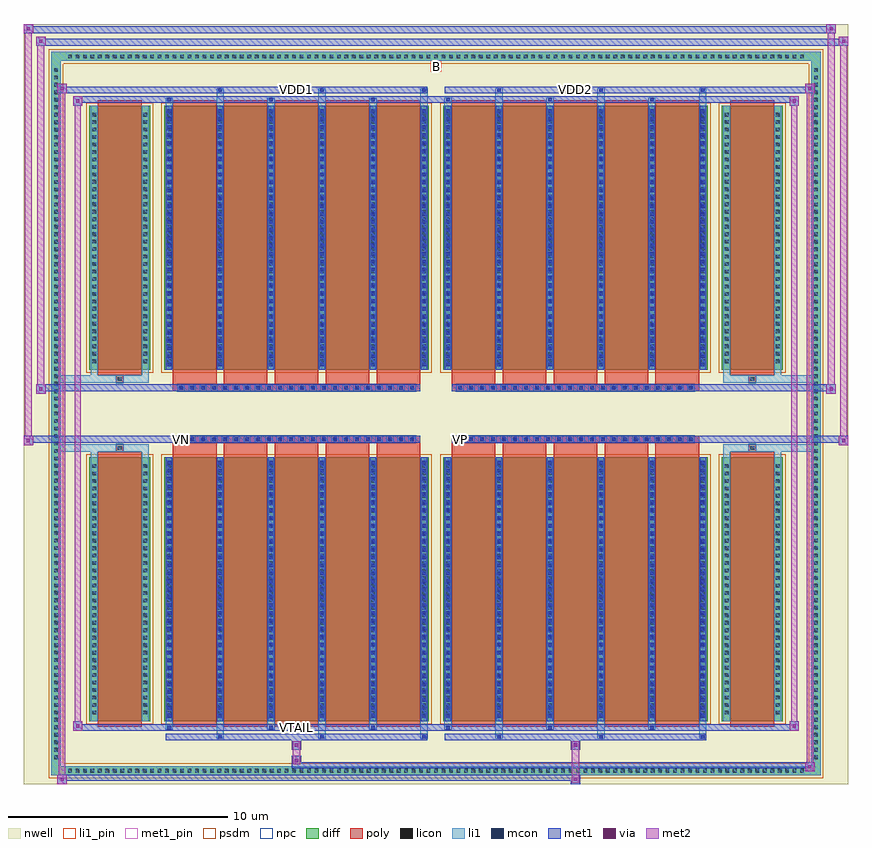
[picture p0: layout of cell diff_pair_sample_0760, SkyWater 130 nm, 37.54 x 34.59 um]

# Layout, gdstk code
import gdstk
lib = gdstk.Library(unit=1e-6, precision=5e-09)
def R(c, l, rs):  # rectangles x0, y0, x1, y1
    for r in rs: c.add(gdstk.rectangle(r[:2], r[2:], *l))
def A(c, l, x, y, w, h, nx, ny, dx, dy):  # array of equal rectangles
    R(c, l, [(x+i*dx, y+j*dy, x+i*dx+w, y+j*dy+h) for i in range(nx) for j in range(ny)])
def P(c, l, *ps):  # polygons
    for p in ps: c.add(gdstk.Polygon(p, *l))
nwell = (64, 20)
diff = (65, 20)
poly = (66, 20)
licon = (66, 44)
li1_pin = (67, 16)
li1 = (67, 20)
mcon = (67, 44)
met1_pin = (68, 16)
met1 = (68, 20)
via = (68, 44)
met2 = (69, 20)
psdm = (94, 20)
npc = (95, 20)

diff_pair_sample_0760 = lib.new_cell('diff_pair_sample_0760')
R(diff_pair_sample_0760, nwell, [(-18.77,-16.86,18.77,17.73), (-16.09,-15.05,-0.01,-0.805), (0.01,-15.05,16.09,-0.805), (-16.09,0.805,-0.01,15.05), (0.01,0.805,16.09,15.05)])
A(diff_pair_sample_0760, diff, -16.865, -16.46, 0.41, 0.41, 99, 2, 0.34, 32.51)
A(diff_pair_sample_0760, diff, -17.5, -15.845, 0.41, 0.41, 1, 93, 0, 0.34)
A(diff_pair_sample_0760, diff, 17.09, -15.845, 0.41, 0.41, 1, 93, 0, 0.34)
R(diff_pair_sample_0760, diff, [(-16.865,-16.46,16.865,-16.05), (-17.5,-15.845,-17.09,15.845), (17.09,-15.845,17.5,15.845), (-15.78,-14.005,-13.01,-1.985), (-12.37,-14.005,-0.32,-1.985), (0.32,-14.005,12.37,-1.985), (13.01,-14.005,15.78,-1.985), (-15.78,1.985,-13.01,14.005), (-12.37,1.985,-0.32,14.005), (0.32,1.985,12.37,14.005), (13.01,1.985,15.78,14.005), (-16.865,16.05,16.865,16.46)])
P(diff_pair_sample_0760, diff, [(17.5,16.46),(-17.5,16.46),(-17.5,-16.05),(-17.09,-16.05),(-17.09,16.05),(17.09,16.05),(17.09,-16.05),(-17.09,-16.05),(-17.5,-16.05),(-17.5,-16.46),(17.5,-16.46)])
A(diff_pair_sample_0760, poly, -11.98, -14.255, 1.99, 12.52, 5, 2, 2.32, 15.99)
A(diff_pair_sample_0760, poly, 0.71, -14.255, 1.99, 12.52, 5, 2, 2.32, 15.99)
A(diff_pair_sample_0760, poly, -11.98, -1.735, 1.99, 0.4, 5, 2, 2.32, 3.07)
A(diff_pair_sample_0760, poly, 0.71, -1.735, 1.99, 0.4, 5, 2, 2.32, 3.07)
A(diff_pair_sample_0760, poly, -11.76, -1.335, 0.33, 0.33, 22, 2, 0.5, 2.34)
A(diff_pair_sample_0760, poly, 0.93, -1.335, 0.33, 0.33, 22, 2, 0.5, 2.34)
R(diff_pair_sample_0760, poly, [(-15.39,-14.255,-13.4,-1.735), (13.4,-14.255,15.39,-1.735), (-14.56,-1.735,-14.23,-1.405), (-14.56,-1.735,-14.23,-1.405), (14.23,-1.735,14.56,-1.405), (14.23,-1.735,14.56,-1.405), (-11.98,-1.335,-0.71,-1.005), (0.71,-1.335,11.98,-1.005), (-11.98,1.005,-0.71,1.335), (0.71,1.005,11.98,1.335), (-14.56,1.405,-14.23,1.735), (-14.56,1.405,-14.23,1.735), (14.23,1.405,14.56,1.735), (14.23,1.405,14.56,1.735), (-15.39,1.735,-13.4,14.255), (13.4,1.735,15.39,14.255)])
A(diff_pair_sample_0760, licon, -16.745, -16.34, 0.17, 0.17, 99, 2, 0.34, 32.51)
A(diff_pair_sample_0760, licon, -17.38, -15.725, 0.17, 0.17, 1, 93, 0, 0.34)
A(diff_pair_sample_0760, licon, 17.21, -15.725, 0.17, 0.17, 1, 93, 0, 0.34)
A(diff_pair_sample_0760, licon, -15.64, -13.69, 0.17, 0.17, 1, 34, 0, 0.34)
A(diff_pair_sample_0760, licon, -13.32, -13.69, 0.17, 0.17, 1, 34, 0, 0.34)
A(diff_pair_sample_0760, licon, -12.23, -13.69, 0.17, 0.17, 6, 34, 2.32, 0.34)
A(diff_pair_sample_0760, licon, 0.46, -13.69, 0.17, 0.17, 6, 34, 2.32, 0.34)
A(diff_pair_sample_0760, licon, 13.15, -13.69, 0.17, 0.17, 1, 34, 0, 0.34)
A(diff_pair_sample_0760, licon, 15.47, -13.69, 0.17, 0.17, 1, 34, 0, 0.34)
A(diff_pair_sample_0760, licon, -11.68, -1.255, 0.17, 0.17, 22, 2, 0.5, 2.34)
A(diff_pair_sample_0760, licon, 1.01, -1.255, 0.17, 0.17, 22, 2, 0.5, 2.34)
A(diff_pair_sample_0760, licon, -15.64, 2.3, 0.17, 0.17, 1, 34, 0, 0.34)
A(diff_pair_sample_0760, licon, -13.32, 2.3, 0.17, 0.17, 1, 34, 0, 0.34)
A(diff_pair_sample_0760, licon, -12.23, 2.3, 0.17, 0.17, 6, 34, 2.32, 0.34)
A(diff_pair_sample_0760, licon, 0.46, 2.3, 0.17, 0.17, 6, 34, 2.32, 0.34)
A(diff_pair_sample_0760, licon, 13.15, 2.3, 0.17, 0.17, 1, 34, 0, 0.34)
A(diff_pair_sample_0760, licon, 15.47, 2.3, 0.17, 0.17, 1, 34, 0, 0.34)
R(diff_pair_sample_0760, licon, [(-14.48,-1.655,-14.31,-1.485), (14.31,-1.655,14.48,-1.485), (-14.48,1.485,-14.31,1.655), (14.31,1.485,14.48,1.655)])
R(diff_pair_sample_0760, li1_pin, [(-0.25,15.55,0.25,16.05)])
A(diff_pair_sample_0760, li1, -16.825, -16.42, 0.33, 0.33, 99, 2, 0.34, 32.51)
A(diff_pair_sample_0760, li1, -17.46, -15.805, 0.33, 0.33, 1, 93, 0, 0.34)
A(diff_pair_sample_0760, li1, 17.13, -15.805, 0.33, 0.33, 1, 93, 0, 0.34)
A(diff_pair_sample_0760, li1, -9.99, -14.81, 0.33, 0.805, 3, 2, 4.64, 28.815)
A(diff_pair_sample_0760, li1, -9.91, -14.81, 0.17, 0.17, 3, 2, 4.64, 29.45)
A(diff_pair_sample_0760, li1, 2.7, -14.81, 0.33, 0.805, 3, 2, 4.64, 28.815)
A(diff_pair_sample_0760, li1, 2.78, -14.81, 0.17, 0.17, 3, 2, 4.64, 29.45)
A(diff_pair_sample_0760, li1, -12.31, -14.38, 0.33, 0.375, 3, 2, 4.64, 28.385)
A(diff_pair_sample_0760, li1, -12.23, -14.38, 0.17, 0.17, 3, 2, 4.64, 28.59)
A(diff_pair_sample_0760, li1, 0.38, -14.38, 0.33, 0.375, 3, 2, 4.64, 28.385)
A(diff_pair_sample_0760, li1, 0.46, -14.38, 0.17, 0.17, 3, 2, 4.64, 28.59)
A(diff_pair_sample_0760, li1, -12.31, -14.005, 0.33, 12.02, 6, 2, 2.32, 15.99)
A(diff_pair_sample_0760, li1, 0.38, -14.005, 0.33, 12.02, 6, 2, 2.32, 15.99)
A(diff_pair_sample_0760, li1, -12.23, -13.84, 0.17, 0.17, 6, 33, 2.32, 0.36)
A(diff_pair_sample_0760, li1, -12.23, -13.84, 0.17, 11.69, 6, 2, 2.32, 15.99)
A(diff_pair_sample_0760, li1, 0.46, -13.84, 0.17, 0.17, 6, 33, 2.32, 0.36)
A(diff_pair_sample_0760, li1, 0.46, -13.84, 0.17, 11.69, 6, 2, 2.32, 15.99)
A(diff_pair_sample_0760, li1, -15.72, -13.77, 0.33, 0.33, 1, 34, 0, 0.34)
A(diff_pair_sample_0760, li1, -13.4, -13.77, 0.33, 0.33, 1, 34, 0, 0.34)
A(diff_pair_sample_0760, li1, -12.31, -13.77, 0.33, 0.33, 6, 34, 2.32, 0.34)
A(diff_pair_sample_0760, li1, 0.38, -13.77, 0.33, 0.33, 6, 34, 2.32, 0.34)
A(diff_pair_sample_0760, li1, 13.07, -13.77, 0.33, 0.33, 1, 34, 0, 0.34)
A(diff_pair_sample_0760, li1, 15.39, -13.77, 0.33, 0.33, 1, 34, 0, 0.34)
A(diff_pair_sample_0760, li1, -11.76, -1.335, 0.33, 0.33, 22, 2, 0.5, 2.34)
A(diff_pair_sample_0760, li1, 0.93, -1.335, 0.33, 0.33, 22, 2, 0.5, 2.34)
A(diff_pair_sample_0760, li1, -12.23, 2.15, 0.17, 0.17, 6, 33, 2.32, 0.36)
A(diff_pair_sample_0760, li1, 0.46, 2.15, 0.17, 0.17, 6, 33, 2.32, 0.36)
A(diff_pair_sample_0760, li1, -15.72, 2.22, 0.33, 0.33, 1, 34, 0, 0.34)
A(diff_pair_sample_0760, li1, -13.4, 2.22, 0.33, 0.33, 1, 34, 0, 0.34)
A(diff_pair_sample_0760, li1, -12.31, 2.22, 0.33, 0.33, 6, 34, 2.32, 0.34)
A(diff_pair_sample_0760, li1, 0.38, 2.22, 0.33, 0.33, 6, 34, 2.32, 0.34)
A(diff_pair_sample_0760, li1, 13.07, 2.22, 0.33, 0.33, 1, 34, 0, 0.34)
A(diff_pair_sample_0760, li1, 15.39, 2.22, 0.33, 0.33, 1, 34, 0, 0.34)
R(diff_pair_sample_0760, li1, [(-17.5,-16.46,-17.09,-16.05), (-17.5,-16.46,-17.09,-16.05), (-17.09,-16.46,17.09,-16.05), (17.09,-16.46,17.5,-16.05), (17.09,-16.46,17.5,-16.05), (-17.5,-16.05,-17.09,16.05), (17.09,-16.05,17.5,16.05), (-15.72,-14.005,-15.39,-1.985), (-13.4,-14.005,-13.07,-1.985), (13.07,-14.005,13.4,-1.985), (15.39,-14.005,15.72,-1.985), (-15.72,-1.985,-15.39,-1.405), (-13.4,-1.985,-13.07,-1.405), (13.07,-1.985,13.4,-1.405), (15.39,-1.985,15.72,-1.405), (-17.5,-1.735,-14.56,-1.405), (-15.72,-1.735,-14.56,-1.405), (-14.56,-1.735,-14.23,-1.405), (-14.23,-1.735,-13.07,-1.405), (13.07,-1.735,14.23,-1.405), (14.23,-1.735,14.56,-1.405), (14.23,-1.735,17.5,-1.405), (14.56,-1.735,15.72,-1.405), (-17.5,1.405,-14.56,1.735), (-15.72,1.405,-14.56,1.735), (-15.72,1.405,-15.39,1.985), (-14.56,1.405,-14.23,1.735), (-14.23,1.405,-13.07,1.735), (-13.4,1.405,-13.07,1.985), (13.07,1.405,14.23,1.735), (13.07,1.405,13.4,1.985), (14.23,1.405,14.56,1.735), (14.23,1.405,17.5,1.735), (14.56,1.405,15.72,1.735), (15.39,1.405,15.72,1.985), (-15.72,1.985,-15.39,14.005), (-13.4,1.985,-13.07,14.005), (13.07,1.985,13.4,14.005), (15.39,1.985,15.72,14.005), (-17.5,16.05,-17.09,16.46), (-17.5,16.05,-17.09,16.46), (-17.09,16.05,17.09,16.46), (17.09,16.05,17.5,16.46), (17.09,16.05,17.5,16.46)])
A(diff_pair_sample_0760, mcon, -9.91, -14.81, 0.17, 0.17, 3, 2, 4.64, 29.45)
A(diff_pair_sample_0760, mcon, 2.78, -14.81, 0.17, 0.17, 3, 2, 4.64, 29.45)
A(diff_pair_sample_0760, mcon, -12.23, -14.38, 0.17, 0.17, 3, 2, 4.64, 28.59)
A(diff_pair_sample_0760, mcon, 0.46, -14.38, 0.17, 0.17, 3, 2, 4.64, 28.59)
A(diff_pair_sample_0760, mcon, -12.23, -13.84, 0.17, 0.17, 6, 33, 2.32, 0.36)
A(diff_pair_sample_0760, mcon, 0.46, -13.84, 0.17, 0.17, 6, 33, 2.32, 0.36)
A(diff_pair_sample_0760, mcon, -11.68, -1.255, 0.17, 0.17, 22, 2, 0.5, 2.34)
A(diff_pair_sample_0760, mcon, 1.01, -1.255, 0.17, 0.17, 22, 2, 0.5, 2.34)
A(diff_pair_sample_0760, mcon, -12.23, 2.15, 0.17, 0.17, 6, 33, 2.32, 0.36)
A(diff_pair_sample_0760, mcon, 0.46, 2.15, 0.17, 0.17, 6, 33, 2.32, 0.36)
R(diff_pair_sample_0760, met1_pin, [(-6.48,-14.42,-6.21,-14.15), (-11.73,-1.295,-11.46,-1.025), (0.96,-1.295,1.23,-1.025), (-6.48,14.6,-6.21,14.87), (6.21,14.6,6.48,14.87)])
A(diff_pair_sample_0760, met1, -9.97, -14.87, 0.29, 0.29, 3, 2, 4.64, 29.45)
A(diff_pair_sample_0760, met1, 2.72, -14.87, 0.29, 0.29, 3, 2, 4.64, 29.45)
A(diff_pair_sample_0760, met1, -12.29, -14.44, 0.29, 0.29, 3, 2, 4.64, 28.59)
A(diff_pair_sample_0760, met1, 0.4, -14.44, 0.29, 0.29, 3, 2, 4.64, 28.59)
A(diff_pair_sample_0760, met1, -12.29, -14.005, 0.29, 12.02, 6, 2, 2.32, 15.99)
A(diff_pair_sample_0760, met1, 0.4, -14.005, 0.29, 12.02, 6, 2, 2.32, 15.99)
A(diff_pair_sample_0760, met1, -12.29, -13.9, 0.29, 0.29, 6, 33, 2.32, 0.36)
A(diff_pair_sample_0760, met1, 0.4, -13.9, 0.29, 0.29, 6, 33, 2.32, 0.36)
A(diff_pair_sample_0760, met1, -11.74, -1.315, 0.29, 0.29, 22, 2, 0.5, 2.34)
A(diff_pair_sample_0760, met1, 0.95, -1.315, 0.29, 0.29, 22, 2, 0.5, 2.34)
A(diff_pair_sample_0760, met1, -12.29, 2.09, 0.29, 0.29, 6, 33, 2.32, 0.36)
A(diff_pair_sample_0760, met1, 0.4, 2.09, 0.29, 0.29, 6, 33, 2.32, 0.36)
R(diff_pair_sample_0760, met1, [(-17.23,-16.86,-16.8,-16.43), (6.13,-16.86,6.56,-16.43), (-17.23,-16.72,6.56,-16.43), (16.8,-16.29,17.23,-15.86), (-6.56,-16.15,17.23,-15.86), (-6.56,-16.01,-6.13,-15.58), (-6.56,-15.3,-6.13,-14.87), (6.13,-15.3,6.56,-14.87), (-12.29,-14.87,-0.4,-14.58), (0.4,-14.87,12.29,-14.58), (-16.52,-14.44,-16.09,-14.01), (-16.52,-14.44,-12.29,-14.15), (-12.29,-14.44,-0.4,-14.15), (-0.4,-14.44,0.4,-14.15), (0.4,-14.44,12.29,-14.15), (12.29,-14.44,16.52,-14.15), (16.09,-14.44,16.52,-14.01), (-18.77,-1.435,-18.34,-1.005), (18.34,-1.435,18.77,-1.005), (-18.77,-1.335,-0.71,-1.005), (-11.98,-1.335,-0.71,-1.005), (0.71,-1.335,11.98,-1.005), (0.71,-1.335,18.77,-1.005), (-18.2,0.905,-17.77,1.335), (17.77,0.905,18.2,1.335), (-18.2,1.005,-11.98,1.335), (-11.98,1.005,-0.71,1.335), (0.71,1.005,11.98,1.335), (11.98,1.005,18.2,1.335), (-16.52,14.01,-16.09,14.44), (16.09,14.01,16.52,14.44), (-16.52,14.15,-12.29,14.44), (-12.29,14.15,-0.4,14.44), (-0.4,14.15,0.4,14.44), (0.4,14.15,12.29,14.44), (12.29,14.15,16.52,14.44), (-17.23,14.58,-16.8,15.01), (-17.23,14.58,-12.29,14.87), (-12.29,14.58,-0.4,14.87), (0.4,14.58,12.29,14.87), (12.29,14.58,17.23,14.87), (16.8,14.58,17.23,15.01), (-18.2,16.73,-17.77,17.16), (-18.2,16.73,-16.09,17.06), (-16.09,16.73,16.09,17.06), (16.09,16.73,18.77,17.06), (18.34,16.73,18.77,17.16), (-18.77,17.3,-18.34,17.73), (-18.77,17.3,-16.09,17.63), (-16.09,17.3,16.09,17.63), (16.09,17.3,18.2,17.63), (17.77,17.3,18.2,17.73)])
R(diff_pair_sample_0760, via, [(-17.09,-16.72,-16.94,-16.57), (6.27,-16.72,6.42,-16.57), (16.94,-16.15,17.09,-16), (-6.42,-15.87,-6.27,-15.72), (-6.42,-15.16,-6.27,-15.01), (6.27,-15.16,6.42,-15.01), (-16.38,-14.3,-16.23,-14.15), (16.23,-14.3,16.38,-14.15), (-18.63,-1.295,-18.48,-1.145), (18.48,-1.295,18.63,-1.145), (-18.06,1.045,-17.91,1.195), (17.91,1.045,18.06,1.195), (-16.38,14.15,-16.23,14.3), (16.23,14.15,16.38,14.3), (-17.09,14.72,-16.94,14.87), (16.94,14.72,17.09,14.87), (-18.06,16.87,-17.91,17.02), (18.48,16.87,18.63,17.02), (-18.63,17.44,-18.48,17.59), (17.91,17.44,18.06,17.59)])
R(diff_pair_sample_0760, met2, [(-17.23,-16.86,-16.8,-16.43), (-17.16,-16.86,-16.87,15.01), (-16.87,-16.86,-16.8,-16.43), (-17.18,-16.81,-16.85,-16.48), (6.18,-16.81,6.51,-16.48), (6.18,-16.48,6.51,-15.25), (16.8,-16.29,17.23,-15.86), (16.87,-16.29,17.16,15.01), (17.16,-16.29,17.23,-15.86), (16.85,-16.24,17.18,-15.91), (-6.51,-15.96,-6.18,-15.63), (-6.51,-15.63,-6.18,-15.25), (-6.51,-15.25,-6.18,-14.92), (6.18,-15.25,6.51,-14.92), (-16.52,-14.44,-16.09,-14.01), (-16.45,-14.44,-16.16,14.44), (-16.16,-14.44,-16.09,-14.01), (16.09,-14.44,16.52,-14.01), (16.16,-14.44,16.45,14.44), (16.45,-14.44,16.52,-14.01), (-16.47,-14.39,-16.14,-14.06), (16.14,-14.39,16.47,-14.06), (-18.77,-1.435,-18.34,-1.005), (-18.72,-1.435,-18.39,17.73), (-18.39,-1.435,-18.34,-1.005), (18.34,-1.435,18.77,-1.005), (18.39,-1.435,18.72,17.16), (18.72,-1.435,18.77,-1.005), (-18.72,-1.385,-18.39,-1.055), (18.39,-1.385,18.72,-1.055), (-18.2,0.905,-17.77,1.335), (-18.15,0.905,-17.82,17.16), (-17.82,0.905,-17.77,1.335), (17.77,0.905,18.2,1.335), (17.82,0.905,18.15,17.73), (18.15,0.905,18.2,1.335), (-18.15,0.955,-17.82,1.285), (17.82,0.955,18.15,1.285), (-16.52,14.01,-16.09,14.44), (-16.16,14.01,-16.09,14.44), (16.09,14.01,16.52,14.44), (16.45,14.01,16.52,14.44), (-16.47,14.06,-16.14,14.39), (16.14,14.06,16.47,14.39), (-17.23,14.58,-16.8,15.01), (-16.87,14.58,-16.8,15.01), (16.8,14.58,17.23,15.01), (17.16,14.58,17.23,15.01), (-17.18,14.63,-16.85,14.96), (16.85,14.63,17.18,14.96), (-18.2,16.73,-17.77,17.16), (-17.82,16.73,-17.77,17.16), (18.34,16.73,18.77,17.16), (18.72,16.73,18.77,17.16), (-18.15,16.78,-17.82,17.11), (18.39,16.78,18.72,17.11), (-18.77,17.3,-18.34,17.73), (-18.39,17.3,-18.34,17.73), (17.77,17.3,18.2,17.73), (18.15,17.3,18.2,17.73), (-18.72,17.35,-18.39,17.68), (17.82,17.35,18.15,17.68)])
R(diff_pair_sample_0760, psdm, [(-15.91,-14.135,-12.88,-1.855), (-12.5,-14.135,-0.19,-1.855), (0.19,-14.135,12.5,-1.855), (12.88,-14.135,15.91,-1.855), (-15.91,1.855,-12.88,14.135), (-12.5,1.855,-0.19,14.135), (0.19,1.855,12.5,14.135), (12.88,1.855,15.91,14.135)])
P(diff_pair_sample_0760, psdm, [(17.63,16.59),(-17.63,16.59),(-17.63,-15.92),(-16.96,-15.92),(-16.96,15.92),(16.96,15.92),(16.96,-15.92),(-16.96,-15.92),(-17.63,-15.92),(-17.63,-16.59),(17.63,-16.59)])
A(diff_pair_sample_0760, npc, -11.78, -1.355, 0.37, 0.37, 22, 2, 0.5, 2.34)
A(diff_pair_sample_0760, npc, 0.91, -1.355, 0.37, 0.37, 22, 2, 0.5, 2.34)
R(diff_pair_sample_0760, npc, [(-14.58,-1.755,-14.21,-1.385), (14.21,-1.755,14.58,-1.385), (-11.78,-1.355,-10.91,-0.985), (-11.78,-1.355,-10.91,-0.985), (-11.28,-1.355,-10.41,-0.985), (-11.28,-1.355,-10.41,-0.985), (-10.78,-1.355,-9.91,-0.985), (-10.78,-1.355,-9.91,-0.985), (-10.28,-1.355,-9.41,-0.985), (-10.28,-1.355,-9.41,-0.985), (-9.78,-1.355,-8.91,-0.985), (-9.78,-1.355,-8.91,-0.985), (-9.28,-1.355,-8.41,-0.985), (-9.28,-1.355,-8.41,-0.985), (-8.78,-1.355,-7.91,-0.985), (-8.78,-1.355,-7.91,-0.985), (-8.28,-1.355,-7.41,-0.985), (-8.28,-1.355,-7.41,-0.985), (-7.78,-1.355,-6.91,-0.985), (-7.78,-1.355,-6.91,-0.985), (-7.28,-1.355,-6.41,-0.985), (-7.28,-1.355,-6.41,-0.985), (-6.78,-1.355,-5.91,-0.985), (-6.78,-1.355,-5.91,-0.985), (-6.28,-1.355,-5.41,-0.985), (-6.28,-1.355,-5.41,-0.985), (-5.78,-1.355,-4.91,-0.985), (-5.78,-1.355,-4.91,-0.985), (-5.28,-1.355,-4.41,-0.985), (-5.28,-1.355,-4.41,-0.985), (-4.78,-1.355,-3.91,-0.985), (-4.78,-1.355,-3.91,-0.985), (-4.28,-1.355,-3.41,-0.985), (-4.28,-1.355,-3.41,-0.985), (-3.78,-1.355,-2.91,-0.985), (-3.78,-1.355,-2.91,-0.985), (-3.28,-1.355,-2.41,-0.985), (-3.28,-1.355,-2.41,-0.985), (-2.78,-1.355,-1.91,-0.985), (-2.78,-1.355,-1.91,-0.985), (-2.28,-1.355,-1.41,-0.985), (-2.28,-1.355,-1.41,-0.985), (-1.78,-1.355,-0.91,-0.985), (-1.78,-1.355,-0.91,-0.985), (0.91,-1.355,1.78,-0.985), (0.91,-1.355,1.78,-0.985), (1.41,-1.355,2.28,-0.985), (1.41,-1.355,2.28,-0.985), (1.91,-1.355,2.78,-0.985), (1.91,-1.355,2.78,-0.985), (2.41,-1.355,3.28,-0.985), (2.41,-1.355,3.28,-0.985), (2.91,-1.355,3.78,-0.985), (2.91,-1.355,3.78,-0.985), (3.41,-1.355,4.28,-0.985), (3.41,-1.355,4.28,-0.985), (3.91,-1.355,4.78,-0.985), (3.91,-1.355,4.78,-0.985), (4.41,-1.355,5.28,-0.985), (4.41,-1.355,5.28,-0.985), (4.91,-1.355,5.78,-0.985), (4.91,-1.355,5.78,-0.985), (5.41,-1.355,6.28,-0.985), (5.41,-1.355,6.28,-0.985), (5.91,-1.355,6.78,-0.985), (5.91,-1.355,6.78,-0.985), (6.41,-1.355,7.28,-0.985), (6.41,-1.355,7.28,-0.985), (6.91,-1.355,7.78,-0.985), (6.91,-1.355,7.78,-0.985), (7.41,-1.355,8.28,-0.985), (7.41,-1.355,8.28,-0.985), (7.91,-1.355,8.78,-0.985), (7.91,-1.355,8.78,-0.985), (8.41,-1.355,9.28,-0.985), (8.41,-1.355,9.28,-0.985), (8.91,-1.355,9.78,-0.985), (8.91,-1.355,9.78,-0.985), (9.41,-1.355,10.28,-0.985), (9.41,-1.355,10.28,-0.985), (9.91,-1.355,10.78,-0.985), (9.91,-1.355,10.78,-0.985), (10.41,-1.355,11.28,-0.985), (10.41,-1.355,11.28,-0.985), (10.91,-1.355,11.78,-0.985), (10.91,-1.355,11.78,-0.985), (-11.78,0.985,-10.91,1.355), (-11.78,0.985,-10.91,1.355), (-11.28,0.985,-10.41,1.355), (-11.28,0.985,-10.41,1.355), (-10.78,0.985,-9.91,1.355), (-10.78,0.985,-9.91,1.355), (-10.28,0.985,-9.41,1.355), (-10.28,0.985,-9.41,1.355), (-9.78,0.985,-8.91,1.355), (-9.78,0.985,-8.91,1.355), (-9.28,0.985,-8.41,1.355), (-9.28,0.985,-8.41,1.355), (-8.78,0.985,-7.91,1.355), (-8.78,0.985,-7.91,1.355), (-8.28,0.985,-7.41,1.355), (-8.28,0.985,-7.41,1.355), (-7.78,0.985,-6.91,1.355), (-7.78,0.985,-6.91,1.355), (-7.28,0.985,-6.41,1.355), (-7.28,0.985,-6.41,1.355), (-6.78,0.985,-5.91,1.355), (-6.78,0.985,-5.91,1.355), (-6.28,0.985,-5.41,1.355), (-6.28,0.985,-5.41,1.355), (-5.78,0.985,-4.91,1.355), (-5.78,0.985,-4.91,1.355), (-5.28,0.985,-4.41,1.355), (-5.28,0.985,-4.41,1.355), (-4.78,0.985,-3.91,1.355), (-4.78,0.985,-3.91,1.355), (-4.28,0.985,-3.41,1.355), (-4.28,0.985,-3.41,1.355), (-3.78,0.985,-2.91,1.355), (-3.78,0.985,-2.91,1.355), (-3.28,0.985,-2.41,1.355), (-3.28,0.985,-2.41,1.355), (-2.78,0.985,-1.91,1.355), (-2.78,0.985,-1.91,1.355), (-2.28,0.985,-1.41,1.355), (-2.28,0.985,-1.41,1.355), (-1.78,0.985,-0.91,1.355), (-1.78,0.985,-0.91,1.355), (0.91,0.985,1.78,1.355), (0.91,0.985,1.78,1.355), (1.41,0.985,2.28,1.355), (1.41,0.985,2.28,1.355), (1.91,0.985,2.78,1.355), (1.91,0.985,2.78,1.355), (2.41,0.985,3.28,1.355), (2.41,0.985,3.28,1.355), (2.91,0.985,3.78,1.355), (2.91,0.985,3.78,1.355), (3.41,0.985,4.28,1.355), (3.41,0.985,4.28,1.355), (3.91,0.985,4.78,1.355), (3.91,0.985,4.78,1.355), (4.41,0.985,5.28,1.355), (4.41,0.985,5.28,1.355), (4.91,0.985,5.78,1.355), (4.91,0.985,5.78,1.355), (5.41,0.985,6.28,1.355), (5.41,0.985,6.28,1.355), (5.91,0.985,6.78,1.355), (5.91,0.985,6.78,1.355), (6.41,0.985,7.28,1.355), (6.41,0.985,7.28,1.355), (6.91,0.985,7.78,1.355), (6.91,0.985,7.78,1.355), (7.41,0.985,8.28,1.355), (7.41,0.985,8.28,1.355), (7.91,0.985,8.78,1.355), (7.91,0.985,8.78,1.355), (8.41,0.985,9.28,1.355), (8.41,0.985,9.28,1.355), (8.91,0.985,9.78,1.355), (8.91,0.985,9.78,1.355), (9.41,0.985,10.28,1.355), (9.41,0.985,10.28,1.355), (9.91,0.985,10.78,1.355), (9.91,0.985,10.78,1.355), (10.41,0.985,11.28,1.355), (10.41,0.985,11.28,1.355), (10.91,0.985,11.78,1.355), (10.91,0.985,11.78,1.355), (-14.58,1.385,-14.21,1.755), (14.21,1.385,14.58,1.755)])
diff_pair_sample_0760.add(gdstk.Label('VTAIL', (-6.345,-14.285), layer=68, texttype=5))
diff_pair_sample_0760.add(gdstk.Label('VN', (-11.595,-1.16), layer=68, texttype=5))
diff_pair_sample_0760.add(gdstk.Label('VP', (1.095,-1.16), layer=68, texttype=5))
diff_pair_sample_0760.add(gdstk.Label('B', (0,15.8), layer=67, texttype=5))
diff_pair_sample_0760.add(gdstk.Label('VDD2', (6.345,14.735), layer=68, texttype=5))
diff_pair_sample_0760.add(gdstk.Label('VDD1', (-6.345,14.735), layer=68, texttype=5))

lib.write_gds('diff_pair_sample_0760.gds')
